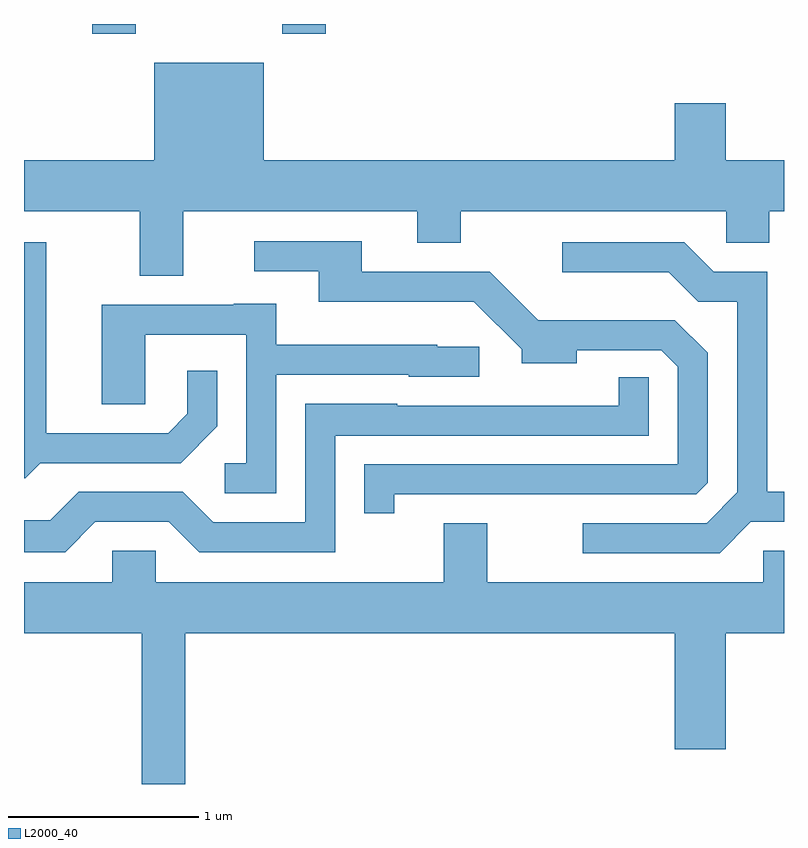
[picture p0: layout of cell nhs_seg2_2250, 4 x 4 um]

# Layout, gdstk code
import gdstk
lib = gdstk.Library(unit=1e-6, precision=1e-09)
def R(c, l, rs):  # rectangles x0, y0, x1, y1
    for r in rs: c.add(gdstk.rectangle(r[:2], r[2:], *l))
def P(c, l, *ps):  # polygons
    for p in ps: c.add(gdstk.Polygon(p, *l))
L2000_40 = (2000, 40)

nhs_seg2_2250 = lib.new_cell('nhs_seg2_2250')
R(nhs_seg2_2250, L2000_40, [(251.971,993.751,252.199,993.802), (252.971,993.751,253.199,993.802)])
P(nhs_seg2_2250, L2000_40, [(255.304,993.384),(255.036,993.384),(255.036,993.084),(252.874,993.084),(252.874,993.599),(252.296,993.599),(252.296,993.084),(251.611,993.084),(251.611,992.816),(252.221,992.816),(252.221,992.476),(252.449,992.476),(252.449,992.816),(253.681,992.816),(253.681,992.651),(253.909,992.651),(253.909,992.816),(255.306,992.816),(255.306,992.651),(255.534,992.651),(255.534,992.816),(255.611,992.816),(255.611,993.084),(255.304,993.084)],
  [(253.559,991.326),(255.149,991.326),(255.209,991.387),(255.209,992.072),(255.037,992.244),(254.317,992.244),(254.062,992.499),(253.389,992.499),(253.389,992.659),(252.823,992.659),(252.823,992.501),(253.161,992.501),(253.161,992.341),(253.979,992.341),(254.231,992.089),(254.231,992.016),(254.519,992.016),(254.519,992.086),(254.964,992.086),(255.051,991.999),(255.051,991.484),(253.401,991.484),(253.401,991.228),(253.559,991.228)],
  [(251.697,991.491),(252.437,991.491),(252.629,991.684),(252.629,991.978),(252.471,991.978),(252.471,991.752),(252.369,991.649),(251.729,991.649),(251.729,992.654),(251.611,992.654),(251.611,991.411),(251.617,991.411)],
  [(255.437,991.181),(255.611,991.181),(255.611,991.339),(255.524,991.339),(255.524,992.499),(255.242,992.499),(255.087,992.654),(254.443,992.654),(254.443,992.496),(255.004,992.496),(255.159,992.341),(255.366,992.341),(255.366,991.337),(255.204,991.174),(254.553,991.174),(254.553,991.016),(255.272,991.016)],
  [(252.939,991.956),(253.635,991.956),(253.635,991.946),(254.008,991.946),(254.008,992.104),(253.785,992.104),(253.785,992.114),(252.939,992.114),(252.939,992.329),(252.715,992.329),(252.715,992.324),(252.021,992.324),(252.021,991.801),(252.249,991.801),(252.249,992.166),(252.781,992.166),(252.781,991.489),(252.668,991.489),(252.668,991.331),(252.939,991.331)],
  [(251.987,991.181),(252.374,991.181),(252.534,991.021),(253.249,991.021),(253.249,991.636),(254.899,991.636),(254.899,991.943),(254.741,991.943),(254.741,991.794),(253.575,991.794),(253.575,991.804),(253.091,991.804),(253.091,991.179),(252.607,991.179),(252.447,991.339),(251.899,991.339),(251.749,991.189),(251.611,991.189),(251.611,991.021),(251.827,991.021)],
  [(252.459,990.596),(255.036,990.596),(255.036,989.986),(255.304,989.986),(255.304,990.596),(255.611,990.596),(255.611,991.029),(255.501,991.029),(255.501,990.864),(254.049,990.864),(254.049,991.174),(253.821,991.174),(253.821,990.864),(252.304,990.864),(252.304,991.029),(252.076,991.029),(252.076,990.864),(251.611,990.864),(251.611,990.596),(252.231,990.596),(252.231,989.802),(252.459,989.802)])

lib.write_gds('nhs_seg2_2250.gds')
